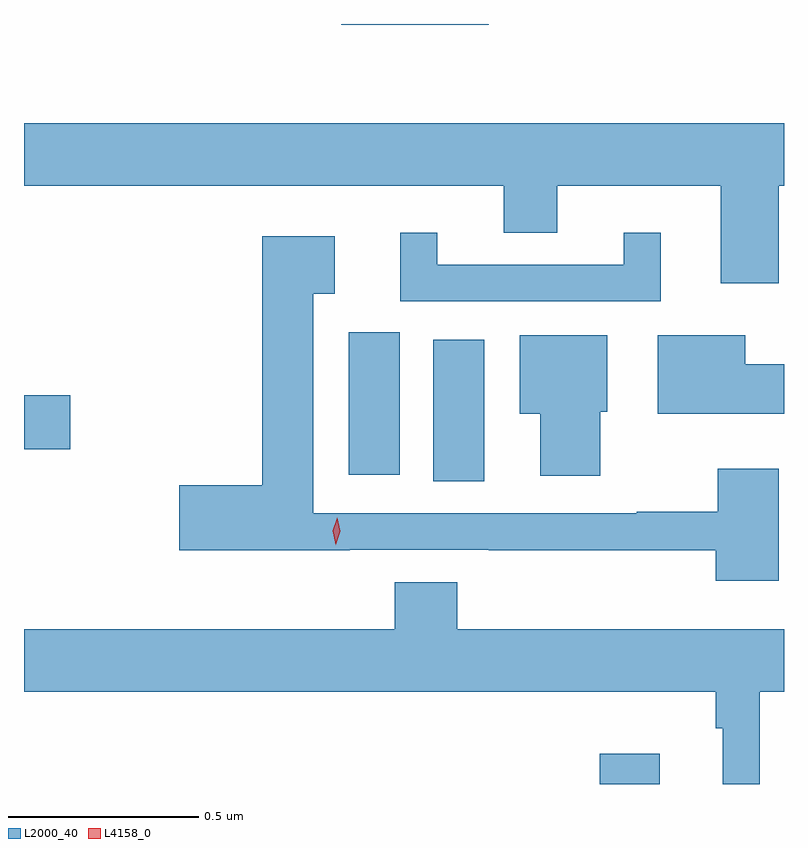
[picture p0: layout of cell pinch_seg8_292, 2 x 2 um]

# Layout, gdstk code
import gdstk
lib = gdstk.Library(unit=1e-6, precision=1e-09)
def R(c, l, rs):  # rectangles x0, y0, x1, y1
    for r in rs: c.add(gdstk.rectangle(r[:2], r[2:], *l))
def P(c, l, *ps):  # polygons
    for p in ps: c.add(gdstk.Polygon(p, *l))
L2000_40 = (2000, 40)
L4158_0 = (4158, 0)

pinch_seg8_292 = lib.new_cell('pinch_seg8_292')
R(pinch_seg8_292, L2000_40, [(565.394,1140.233,565.552,1140.313), (564.956,1141.03,565.09,1141.402), (564.734,1141.047,564.868,1141.422), (563.879,1141.114,564.001,1141.256), (564.714,1142.231,565.102,1142.233)])
P(pinch_seg8_292, L2000_40, [(565.865,1141.808),(565.879,1141.808),(565.879,1141.972),(563.879,1141.972),(563.879,1141.808),(565.142,1141.808),(565.142,1141.684),(565.282,1141.684),(565.282,1141.808),(565.712,1141.808),(565.712,1141.551),(565.865,1141.551)],
  [(565.555,1141.684),(565.457,1141.684),(565.457,1141.599),(564.967,1141.599),(564.967,1141.684),(564.869,1141.684),(564.869,1141.503),(565.555,1141.503)],
  [(565.865,1141.063),(565.705,1141.063),(565.705,1140.95),(565.492,1140.95),(565.492,1140.945),(564.64,1140.945),(564.64,1141.523),(564.697,1141.523),(564.697,1141.675),(564.506,1141.675),(564.506,1141.019),(564.288,1141.019),(564.288,1140.848),(564.736,1140.848),(564.736,1140.849),(565.102,1140.849),(565.102,1140.848),(565.7,1140.848),(565.7,1140.768),(565.865,1140.768)],
  [(565.879,1141.338),(565.777,1141.338),(565.777,1141.414),(565.547,1141.414),(565.547,1141.208),(565.879,1141.208)],
  [(565.396,1141.212),(565.414,1141.212),(565.414,1141.414),(565.184,1141.414),(565.184,1141.208),(565.238,1141.208),(565.238,1141.044),(565.396,1141.044)],
  [(565.815,1140.476),(565.879,1140.476),(565.879,1140.64),(565.019,1140.64),(565.019,1140.764),(564.854,1140.764),(564.854,1140.64),(563.879,1140.64),(563.879,1140.476),(565.699,1140.476),(565.699,1140.38),(565.718,1140.38),(565.718,1140.233),(565.815,1140.233)])
P(pinch_seg8_292, L4158_0, [(564.7,1140.862),(564.7,1140.862),(564.691,1140.899),(564.703,1140.934),(564.703,1140.934),(564.703,1140.934),(564.711,1140.898),(564.7,1140.862)])

lib.write_gds('pinch_seg8_292.gds')
